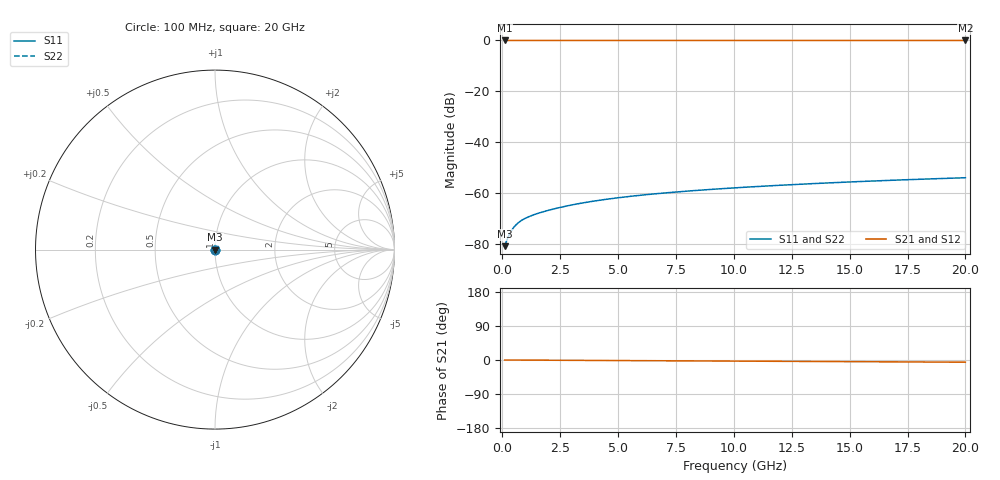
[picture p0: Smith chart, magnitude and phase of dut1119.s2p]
! Touchstone file exported from HFSS 2026.1.0
!  File:  C:/ffzhzh/LocalFiles/Ansys_Project_Files/temp_train_TSV_1119_1783190918_51560.aedt
!  Generated:  02:50:11 AM Jul  5, 2026
!  Design:  TSV
!  Project:  temp_train_TSV_1119_1783190918_51560
! Variables:
!  h_bsmrdl = 2um
!  h_ox = 20um
!  h_rdl = 5um
!  h_sub = 54.36um
!  h_tmrdl = 5um
!  h_tsv = 54.36um
!  h_via = 3um
!  l_bsmrdl = 300um
!  l_sub = 422.82um
!  l_tmrdl = 200um
!  m_sub = 200um
!  pitch = 46.06um
!  r_tsv = 11.41um
!  s_tmrdl = 10um
!  w_bsmrdl = 18um
!  w_sub = 500um
!  w_tmrdl = 12um
!  x_tsv_center1 = 206um
!  x_tsv_center2 = 524um
!  x_tsv_center3 = 736um
!  x_tsv_center4 = 1054um
!  x_tsv_center5 = 1266um
!  x_tsv_center6 = 1584um
# GHz S MA R 50.000000
! Terminal data exported
! Port[1] = TSV1_1_T1
! Port[2] = TSV1_1_T2
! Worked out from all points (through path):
!   200 points, 100 MHz to 20 GHz, reference 50 ohm
!   highest |S21| = 0.00 dB at 100 MHz (marker M1); lowest = 0.0 dB at 20 GHz (marker M2)
!   lowest |S11| = -81.0 dB at 100 MHz (marker M3), VSWR 1.00, Z = 50 + j0.00394 ohm
!   |S11| at or under -10 dB: start of sweep to end of sweep
!   |S22| runs from -81.0 to -54.0 dB; largest |S21 - S12| = 3.2e-15
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0.1  8.943e-05 26.1  0.9999 -0.0  0.9999 -0.0  8.943e-05 26.1
! Gamma 0 0 0 0
! Port Impedance 50 0 50 0
0.2  0.0001177 40.5  0.9999 -0.1  0.9999 -0.1  0.0001177 40.5
0.3  0.0001504 46.7  0.9999 -0.1  0.9999 -0.1  0.0001504 46.7
0.4  0.0001822 49.2  0.9999 -0.1  0.9999 -0.1  0.0001822 49.2
0.5  0.0002113 50.0  0.9999 -0.2  0.9999 -0.2  0.0002113 50.0
0.6  0.0002373 50.1  0.9998 -0.2  0.9998 -0.2  0.0002373 50.1
0.7  0.0002605 50.0  0.9998 -0.2  0.9998 -0.2  0.0002605 50.0
0.8  0.0002812 49.8  0.9998 -0.2  0.9998 -0.2  0.0002812 49.8
1  0.0003172 49.6  0.9998 -0.3  0.9998 -0.3  0.0003172 49.6
1.4  0.0003768 50.1  0.9998 -0.4  0.9998 -0.4  0.0003767 50.1
2  0.0004552 51.8  0.9997 -0.6  0.9997 -0.6  0.0004552 51.8
2.7  0.0005423 53.6  0.9997 -0.8  0.9997 -0.8  0.0005423 53.6
3.5  0.0006377 55.0  0.9996 -1.0  0.9996 -1.0  0.0006378 55.0
4.2  0.000717 55.7  0.9996 -1.2  0.9996 -1.2  0.000717 55.7
5  0.0008024 56.2  0.9996 -1.5  0.9996 -1.5  0.0008024 56.2
5.9  0.0008925 56.6  0.9995 -1.7  0.9995 -1.7  0.0008925 56.6
6.8  0.0009775 56.9  0.9995 -2.0  0.9995 -2.0  0.0009776 56.9
8.3  0.001111 57.4  0.9994 -2.4  0.9994 -2.4  0.001111 57.4
10.1  0.001262 57.9  0.9994 -2.9  0.9994 -2.9  0.001262 57.9
13.4  0.001522 58.4  0.9993 -3.9  0.9993 -3.9  0.001522 58.4
16.7  0.001764 58.5  0.9992 -4.9  0.9992 -4.9  0.001764 58.5
20  0.001987 58.2  0.9991 -5.8  0.9991 -5.8  0.001987 58.2
